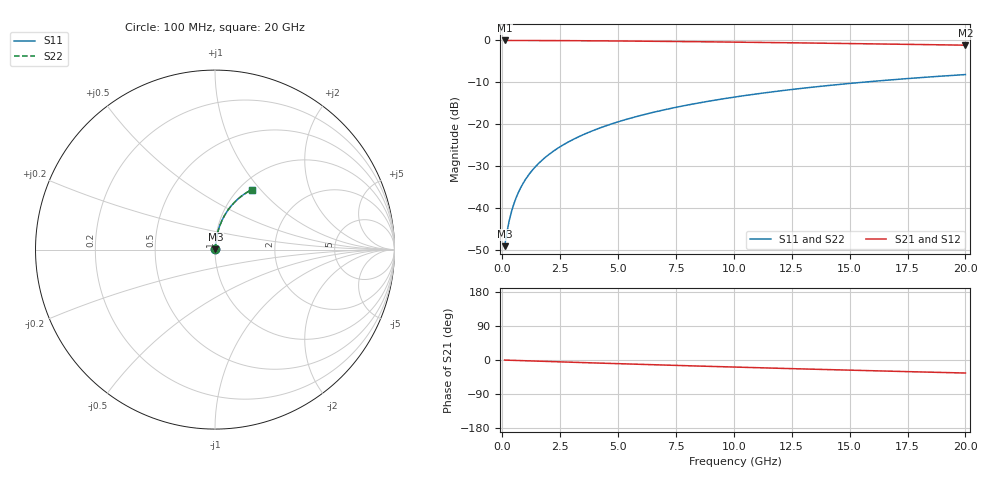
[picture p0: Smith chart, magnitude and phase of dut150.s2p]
! Touchstone file exported from HFSS 2024.1.0
!  File:  C:/UserFiles/LocalFiles/RDL_TSV_Batchsim/temp_RDL_top_150_1778685074.aedt
!  Generated:  11:13:19 PM May 13, 2026
!  Design:  RDL_top
!  Project:  temp_RDL_top_150_1778685074
!  Setup:  Setup1
!  Solution:  Sweep
! Variables:
!  dtsv = 10.80580581um
!  hbump = 3um
!  htsv = 64.59um
!  ldown = 100um
!  lrdl = 449.66um
!  p = 40
!  p1 = 46.06um
!  rhole = 1um
!  t = 450um
!  tdown = 3.915915916um
!  trdl = 4.87um
!  wdown = 15.38538539um
!  wrdl = 12.31um
# GHz S MA R 50.000000
! Terminal data exported
! Port[1] = Box2_T1
! Port[2] = Box2_T2
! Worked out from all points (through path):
!   200 points, 100 MHz to 20 GHz, reference 50 ohm
!   highest |S21| = -0.02 dB at 100 MHz (marker M1); lowest = -1.1 dB at 20 GHz (marker M2)
!   group delay of S21, straight-line fit = 4.76 ps
!   lowest |S11| = -49.0 dB at 100 MHz (marker M3), VSWR 1.01, Z = 50.3 + j0.225 ohm
!   |S11| at or under -10 dB: start of sweep to 15.53 GHz
!   |S22| runs from -49.0 to -8.2 dB; largest |S21 - S12| = 3.6e-15
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0.1  0.00353 39.3  0.9973 -0.2  0.9973 -0.2  0.00353 39.3
! Gamma 0 0 0 0
! Port Impedance 50 0 50 0
0.2  0.00517 58.3  0.9972 -0.4  0.9972 -0.4  0.005169 58.2
0.3  0.007111 67.3  0.9971 -0.6  0.9971 -0.6  0.00711 67.2
0.4  0.009162 72.2  0.997 -0.8  0.997 -0.8  0.00916 72.2
0.5  0.01126 75.3  0.9969 -1.0  0.9969 -1.0  0.01126 75.3
0.6  0.01338 77.3  0.9968 -1.2  0.9968 -1.2  0.01338 77.3
0.8  0.01767 79.7  0.9966 -1.6  0.9966 -1.6  0.01766 79.7
1.1  0.02412 81.5  0.9962 -2.2  0.9962 -2.2  0.02411 81.5
1.5  0.03271 82.5  0.9955 -3.0  0.9955 -3.0  0.03271 82.5
1.8  0.03914 82.7  0.9949 -3.6  0.9949 -3.6  0.03914 82.7
2.1  0.04555 82.8  0.9942 -4.2  0.9942 -4.2  0.04555 82.8
2.7  0.05833 82.6  0.9925 -5.3  0.9925 -5.3  0.05833 82.6
3.5  0.0753 82.0  0.9898 -6.9  0.9898 -6.9  0.07529 82.0
4.2  0.09009 81.3  0.987 -8.2  0.987 -8.2  0.09008 81.3
5  0.107 80.4  0.9833 -9.7  0.9833 -9.7  0.1069 80.3
5.9  0.1259 79.2  0.9787 -11.4  0.9787 -11.4  0.1258 79.2
6.8  0.1447 78.0  0.9737 -13.0  0.9737 -13.0  0.1447 78.0
8.3  0.1758 75.9  0.9646 -15.7  0.9646 -15.7  0.1757 75.9
10.1  0.2124 73.3  0.9527 -18.8  0.9527 -18.8  0.2124 73.3
13.4  0.277 68.3  0.9287 -24.3  0.9287 -24.3  0.2768 68.3
16.7  0.3368 63.3  0.9029 -29.5  0.9029 -29.5  0.3367 63.3
20  0.3912 58.5  0.876 -34.4  0.876 -34.4  0.391 58.4
